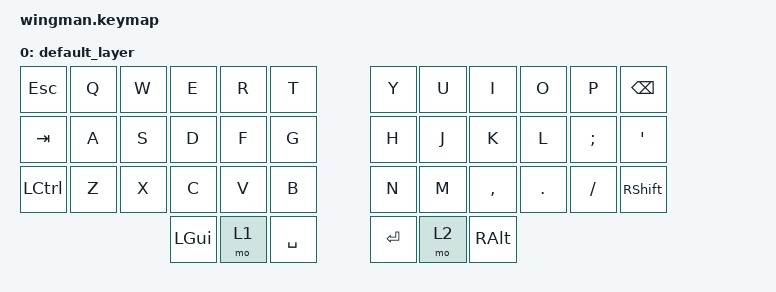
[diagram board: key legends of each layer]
#include <behaviors.dtsi>
#include <dt-bindings/zmk/keys.h>
#include <dt-bindings/zmk/bt.h>

/ {
    keymap {
        compatible = "zmk,keymap";

        default_layer { 
            bindings = <
                   &kp ESC   &kp Q &kp W &kp E    &kp R &kp T       &kp Y &kp U  &kp I     &kp O   &kp P    &kp BSPC
                   &kp TAB   &kp A &kp S &kp D    &kp F &kp G       &kp H &kp J  &kp K     &kp L   &kp SEMI &kp SQT
                   &kp LCTRL &kp Z &kp X &kp C    &kp V &kp B       &kp N &kp M  &kp COMMA &kp DOT &kp FSLH &kp RSHIFT
                                         &kp LGUI &mo 1 &kp SPACE   &kp RET &mo 2 &kp RALT
            >;
        };
    };
 };
